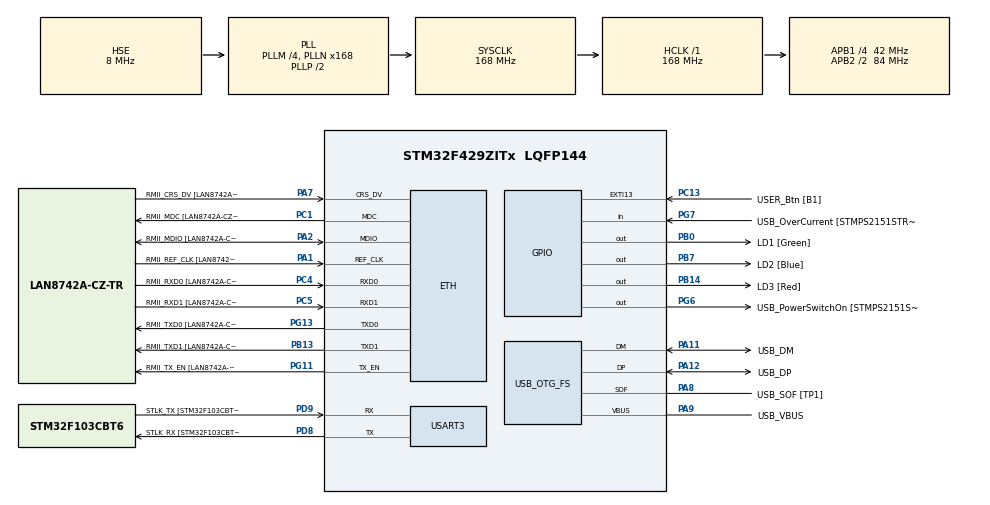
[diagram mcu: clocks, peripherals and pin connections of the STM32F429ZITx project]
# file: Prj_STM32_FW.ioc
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ETH.MediaInterface=HAL_ETH_RMII_MODE
ETH.PHY_Name=LAN8742A_PHY_ADDRESS
ETH.PHY_Value=0
ETH.PhyAddress=0
Mcu.Family=STM32F4
Mcu.Name=STM32F429ZITx
Mcu.Package=LQFP144
NVIC.PriorityGroup=NVIC_PRIORITYGROUP_4
PA1.GPIO_Label=RMII_REF_CLK [LAN8742A-CZ-TR_REFCLK0]
PA1.Mode=RMII
PA1.Signal=ETH_REF_CLK
PA10.GPIO_Label=USB_ID
PA10.Signal=USB_OTG_FS_ID
PA11.GPIO_Label=USB_DM
PA11.Mode=Device_Only
PA11.Signal=USB_OTG_FS_DM
PA12.GPIO_Label=USB_DP
PA12.Mode=Device_Only
PA12.Signal=USB_OTG_FS_DP
PA13.GPIO_Label=TMS
PA13.Mode=Serial_Wire
PA13.Signal=SYS_JTMS-SWDIO
PA14.GPIO_Label=TCK
PA14.Mode=Serial_Wire
PA14.Signal=SYS_JTCK-SWCLK
PA2.GPIO_Label=RMII_MDIO [LAN8742A-CZ-TR_MDIO]
PA2.Mode=RMII
PA2.Signal=ETH_MDIO
PA7.GPIO_Label=RMII_CRS_DV [LAN8742A-CZ-TR_CRS_DV]
PA7.Mode=RMII
PA7.Signal=ETH_CRS_DV
PA8.GPIO_Label=USB_SOF [TP1]
PA8.Mode=Activate_SOF_FS
PA8.Signal=USB_OTG_FS_SOF
PA9.GPIO_Label=USB_VBUS
PA9.Mode=Activate_VBUS
PA9.Signal=USB_OTG_FS_VBUS
PB0.GPIO_Label=LD1 [Green]
PB0.Signal=GPIO_Output
PB13.GPIO_Label=RMII_TXD1 [LAN8742A-CZ-TR_TXD1]
PB13.Mode=RMII
PB13.Signal=ETH_TXD1
PB14.GPIO_Label=LD3 [Red]
PB14.Signal=GPIO_Output
PB7.GPIO_Label=LD2 [Blue]
PB7.Signal=GPIO_Output
PC1.GPIO_Label=RMII_MDC [LAN8742A-CZ-TR_MDC]
PC1.Mode=RMII
PC1.Signal=ETH_MDC
PC13.GPIO_Label=USER_Btn [B1]
PC13.Signal=GPXTI13
PC14/OSC32_IN.Mode=LSE-External-Oscillator
PC14/OSC32_IN.Signal=RCC_OSC32_IN
PC15/OSC32_OUT.Mode=LSE-External-Oscillator
PC15/OSC32_OUT.Signal=RCC_OSC32_OUT
PC4.GPIO_Label=RMII_RXD0 [LAN8742A-CZ-TR_RXD0]
PC4.Mode=RMII
PC4.Signal=ETH_RXD0
PC5.GPIO_Label=RMII_RXD1 [LAN8742A-CZ-TR_RXD1]
PC5.Mode=RMII
PC5.Signal=ETH_RXD1
PD8.GPIO_Label=STLK_RX [STM32F103CBT6_PA3]
PD8.Mode=Asynchronous
PD8.Signal=USART3_TX
PD9.GPIO_Label=STLK_TX [STM32F103CBT6_PA2]
PD9.Mode=Asynchronous
PD9.Signal=USART3_RX
PG11.GPIO_Label=RMII_TX_EN [LAN8742A-CZ-TR_TXEN]
PG11.Mode=RMII
PG11.Signal=ETH_TX_EN
PG13.GPIO_Label=RMII_TXD0 [LAN8742A-CZ-TR_TXD0]
PG13.Mode=RMII
PG13.Signal=ETH_TXD0
PG6.GPIO_Label=USB_PowerSwitchOn [STMPS2151STR_EN]
PG6.Signal=GPIO_Output
PG7.GPIO_Label=USB_OverCurrent [STMPS2151STR_FAULT]
PG7.Signal=GPIO_Input
PH0/OSC_IN.GPIO_Label=MCO [STM32F103CBT6_PA8]
PH0/OSC_IN.Mode=HSE-External-Clock-Source
PH0/OSC_IN.Signal=RCC_OSC_IN
PH1/OSC_OUT.Mode=HSE-External-Clock-Source
PH1/OSC_OUT.Signal=RCC_OSC_OUT
ProjectManager.HeapSize=0x200
ProjectManager.StackSize=0x400
ProjectManager.TargetToolchain=STM32CubeIDE
RCC.48MHZClocksFreq_Value=48000000
RCC.AHBFreq_Value=168000000
RCC.APB1CLKDivider=RCC_HCLK_DIV4
RCC.APB1Freq_Value=42000000
RCC.APB1TimFreq_Value=84000000
RCC.APB2CLKDivider=RCC_HCLK_DIV2
RCC.APB2Freq_Value=84000000
RCC.APB2TimCLKDivider=2
RCC.APB2TimFreq_Value=168000000
RCC.CortexFreq_Value=168000000
RCC.HCLKFreq_Value=168000000
RCC.HSE_VALUE=8000000
RCC.HSI_VALUE=16000000
RCC.PLLM=4
RCC.PLLMUL=RCC_PLL_MUL9
RCC.PLLN=168
RCC.PLLQ=7
RCC.PRESCALERUSB=RCC_USBCLKSOURCE_PLL_DIV1_5
RCC.SYSCLKFreq_VALUE=168000000
RCC.SYSCLKSource=RCC_SYSCLKSOURCE_PLLCLK
RCC.SYSCLKSourceVirtual=RCC_SYSCLKSOURCE_PLLCLK
RCC.USBFreq_Value=48000000
RCC.VCOOutputFreq_Value=336000000
USART3.VirtualMode=VM_ASYNC
USB_OTG_FS.VirtualMode=Device_Only
board=NUCLEO-F429ZI

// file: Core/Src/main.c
/* USER CODE BEGIN Header */
/**
  ******************************************************************************
  * @file           : main.c
  * @brief          : Main program body
  ******************************************************************************
  * @attention
  *
  * Copyright (c) 2026 STMicroelectronics.
  * All rights reserved.
  *
  * This software is licensed under terms that can be found in the LICENSE file
  * in the root directory of this software component.
  * If no LICENSE file comes with this software, it is provided AS-IS.
  *
  ******************************************************************************
  */
/* USER CODE END Header */
#include "main.h"
#include "string.h"

ETH_TxPacketConfig TxConfig;
ETH_DMADescTypeDef  DMARxDscrTab[ETH_RX_DESC_CNT]; /* Ethernet Rx DMA Descriptors */
ETH_DMADescTypeDef  DMATxDscrTab[ETH_TX_DESC_CNT]; /* Ethernet Tx DMA Descriptors */

ETH_HandleTypeDef heth;

UART_HandleTypeDef huart3;

PCD_HandleTypeDef hpcd_USB_OTG_FS;

void SystemClock_Config(void);
static void MX_GPIO_Init(void);
static void MX_ETH_Init(void);
static void MX_USART3_UART_Init(void);
static void MX_USB_OTG_FS_PCD_Init(void);

int main(void)
{

  /* MCU Configuration--------------------------------------------------------*/

  /* Reset of all peripherals, Initializes the Flash interface and the Systick. */
  HAL_Init();

  /* Configure the system clock */
  SystemClock_Config();

  /* Initialize all configured peripherals */
  MX_GPIO_Init();
  MX_ETH_Init();
  MX_USART3_UART_Init();
  MX_USB_OTG_FS_PCD_Init();

  /* Infinite loop */
  while (1)
  {

    /* USER CODE BEGIN 3 */

    /* 좌 -> 우 : LD1 -> LD2 -> LD3 한 개씩 점등 */
    HAL_GPIO_WritePin(LD1_GPIO_Port, LD1_Pin, GPIO_PIN_SET);
    HAL_Delay(100);
    HAL_GPIO_WritePin(LD2_GPIO_Port, LD2_Pin, GPIO_PIN_SET);
    HAL_Delay(100);
    HAL_GPIO_WritePin(LD3_GPIO_Port, LD3_Pin, GPIO_PIN_SET);
    HAL_Delay(100);

    HAL_GPIO_WritePin(LD1_GPIO_Port, LD1_Pin, GPIO_PIN_RESET);
    HAL_Delay(100);
    HAL_GPIO_WritePin(LD2_GPIO_Port, LD2_Pin, GPIO_PIN_RESET);
    HAL_Delay(100);
    HAL_GPIO_WritePin(LD3_GPIO_Port, LD3_Pin, GPIO_PIN_RESET);
    HAL_Delay(100);

    /* 우 -> 좌 : LD2 -> LD1 되돌아오며 점등 (양 끝 중복 방지) */
    HAL_GPIO_WritePin(LD1_GPIO_Port, LD3_Pin, GPIO_PIN_SET);
    HAL_Delay(100);
    HAL_GPIO_WritePin(LD2_GPIO_Port, LD2_Pin, GPIO_PIN_SET);
    HAL_Delay(100);
    HAL_GPIO_WritePin(LD3_GPIO_Port, LD1_Pin, GPIO_PIN_SET);
    HAL_Delay(100);

    HAL_GPIO_WritePin(LD1_GPIO_Port, LD3_Pin, GPIO_PIN_RESET);
    HAL_Delay(100);
    HAL_GPIO_WritePin(LD2_GPIO_Port, LD2_Pin, GPIO_PIN_RESET);
    HAL_Delay(100);
    HAL_GPIO_WritePin(LD3_GPIO_Port, LD1_Pin, GPIO_PIN_RESET);
    HAL_Delay(100);
  }
  /* USER CODE END 3 */
}

void SystemClock_Config(void)
{
  RCC_OscInitTypeDef RCC_OscInitStruct = {0};
  RCC_ClkInitTypeDef RCC_ClkInitStruct = {0};

  /** Configure the main internal regulator output voltage
  */
  __HAL_RCC_PWR_CLK_ENABLE();
  __HAL_PWR_VOLTAGESCALING_CONFIG(PWR_REGULATOR_VOLTAGE_SCALE1);

  /** Initializes the RCC Oscillators according to the specified parameters
  * in the RCC_OscInitTypeDef structure.
  */
  RCC_OscInitStruct.OscillatorType = RCC_OSCILLATORTYPE_HSE;
  RCC_OscInitStruct.HSEState = RCC_HSE_BYPASS;
  RCC_OscInitStruct.PLL.PLLState = RCC_PLL_ON;
  RCC_OscInitStruct.PLL.PLLSource = RCC_PLLSOURCE_HSE;
  RCC_OscInitStruct.PLL.PLLM = 4;
  RCC_OscInitStruct.PLL.PLLN = 168;
  RCC_OscInitStruct.PLL.PLLP = RCC_PLLP_DIV2;
  RCC_OscInitStruct.PLL.PLLQ = 7;
  if (HAL_RCC_OscConfig(&RCC_OscInitStruct) != HAL_OK)
  {
    Error_Handler();
  }

  /** Initializes the CPU, AHB and APB buses clocks
  */
  RCC_ClkInitStruct.ClockType = RCC_CLOCKTYPE_HCLK|RCC_CLOCKTYPE_SYSCLK
                              |RCC_CLOCKTYPE_PCLK1|RCC_CLOCKTYPE_PCLK2;
  RCC_ClkInitStruct.SYSCLKSource = RCC_SYSCLKSOURCE_PLLCLK;
  RCC_ClkInitStruct.AHBCLKDivider = RCC_SYSCLK_DIV1;
  RCC_ClkInitStruct.APB1CLKDivider = RCC_HCLK_DIV4;
  RCC_ClkInitStruct.APB2CLKDivider = RCC_HCLK_DIV2;

  if (HAL_RCC_ClockConfig(&RCC_ClkInitStruct, FLASH_LATENCY_5) != HAL_OK)
  {
    Error_Handler();
  }
}

static void MX_ETH_Init(void)
{

   static uint8_t MACAddr[6];

  heth.Instance = ETH;
  MACAddr[0] = 0x00;
  MACAddr[1] = 0x80;
  MACAddr[2] = 0xE1;
  MACAddr[3] = 0x00;
  MACAddr[4] = 0x00;
  MACAddr[5] = 0x00;
  heth.Init.MACAddr = &MACAddr[0];
  heth.Init.MediaInterface = HAL_ETH_RMII_MODE;
  heth.Init.TxDesc = DMATxDscrTab;
  heth.Init.RxDesc = DMARxDscrTab;
  heth.Init.RxBuffLen = 1524;

  if (HAL_ETH_Init(&heth) != HAL_OK)
  {
    Error_Handler();
  }

  memset(&TxConfig, 0 , sizeof(ETH_TxPacketConfig));
  TxConfig.Attributes = ETH_TX_PACKETS_FEATURES_CSUM | ETH_TX_PACKETS_FEATURES_CRCPAD;
  TxConfig.ChecksumCtrl = ETH_CHECKSUM_IPHDR_PAYLOAD_INSERT_PHDR_CALC;
  TxConfig.CRCPadCtrl = ETH_CRC_PAD_INSERT;

}

static void MX_USART3_UART_Init(void)
{

  huart3.Instance = USART3;
  huart3.Init.BaudRate = 115200;
  huart3.Init.WordLength = UART_WORDLENGTH_8B;
  huart3.Init.StopBits = UART_STOPBITS_1;
  huart3.Init.Parity = UART_PARITY_NONE;
  huart3.Init.Mode = UART_MODE_TX_RX;
  huart3.Init.HwFlowCtl = UART_HWCONTROL_NONE;
  huart3.Init.OverSampling = UART_OVERSAMPLING_16;
  if (HAL_UART_Init(&huart3) != HAL_OK)
  {
    Error_Handler();
  }

}

static void MX_USB_OTG_FS_PCD_Init(void)
{

  hpcd_USB_OTG_FS.Instance = USB_OTG_FS;
  hpcd_USB_OTG_FS.Init.dev_endpoints = 4;
  hpcd_USB_OTG_FS.Init.speed = PCD_SPEED_FULL;
  hpcd_USB_OTG_FS.Init.dma_enable = DISABLE;
  hpcd_USB_OTG_FS.Init.phy_itface = PCD_PHY_EMBEDDED;
  hpcd_USB_OTG_FS.Init.Sof_enable = ENABLE;
  hpcd_USB_OTG_FS.Init.low_power_enable = DISABLE;
  hpcd_USB_OTG_FS.Init.lpm_enable = DISABLE;
  hpcd_USB_OTG_FS.Init.vbus_sensing_enable = ENABLE;
  hpcd_USB_OTG_FS.Init.use_dedicated_ep1 = DISABLE;
  if (HAL_PCD_Init(&hpcd_USB_OTG_FS) != HAL_OK)
  {
    Error_Handler();
  }

}

static void MX_GPIO_Init(void)
{
  GPIO_InitTypeDef GPIO_InitStruct = {0};

  /* GPIO Ports Clock Enable */
  __HAL_RCC_GPIOC_CLK_ENABLE();
  __HAL_RCC_GPIOH_CLK_ENABLE();
  __HAL_RCC_GPIOA_CLK_ENABLE();
  __HAL_RCC_GPIOB_CLK_ENABLE();
  __HAL_RCC_GPIOD_CLK_ENABLE();
  __HAL_RCC_GPIOG_CLK_ENABLE();

  /*Configure GPIO pin Output Level */
  HAL_GPIO_WritePin(GPIOB, LD1_Pin|LD3_Pin|LD2_Pin, GPIO_PIN_RESET);

  /*Configure GPIO pin Output Level */
  HAL_GPIO_WritePin(USB_PowerSwitchOn_GPIO_Port, USB_PowerSwitchOn_Pin, GPIO_PIN_RESET);

  /*Configure GPIO pin : USER_Btn_Pin */
  GPIO_InitStruct.Pin = USER_Btn_Pin;
  GPIO_InitStruct.Mode = GPIO_MODE_IT_RISING;
  GPIO_InitStruct.Pull = GPIO_NOPULL;
  HAL_GPIO_Init(USER_Btn_GPIO_Port, &GPIO_InitStruct);

  /*Configure GPIO pins : LD1_Pin LD3_Pin LD2_Pin */
  GPIO_InitStruct.Pin = LD1_Pin|LD3_Pin|LD2_Pin;
  GPIO_InitStruct.Mode = GPIO_MODE_OUTPUT_PP;
  GPIO_InitStruct.Pull = GPIO_NOPULL;
  GPIO_InitStruct.Speed = GPIO_SPEED_FREQ_LOW;
  HAL_GPIO_Init(GPIOB, &GPIO_InitStruct);

  /*Configure GPIO pin : USB_PowerSwitchOn_Pin */
  GPIO_InitStruct.Pin = USB_PowerSwitchOn_Pin;
  GPIO_InitStruct.Mode = GPIO_MODE_OUTPUT_PP;
  GPIO_InitStruct.Pull = GPIO_NOPULL;
  GPIO_InitStruct.Speed = GPIO_SPEED_FREQ_LOW;
  HAL_GPIO_Init(USB_PowerSwitchOn_GPIO_Port, &GPIO_InitStruct);

  /*Configure GPIO pin : USB_OverCurrent_Pin */
  GPIO_InitStruct.Pin = USB_OverCurrent_Pin;
  GPIO_InitStruct.Mode = GPIO_MODE_INPUT;
  GPIO_InitStruct.Pull = GPIO_NOPULL;
  HAL_GPIO_Init(USB_OverCurrent_GPIO_Port, &GPIO_InitStruct);

}

void Error_Handler(void)
{
  __disable_irq();
  while (1)
  {
  }
}
